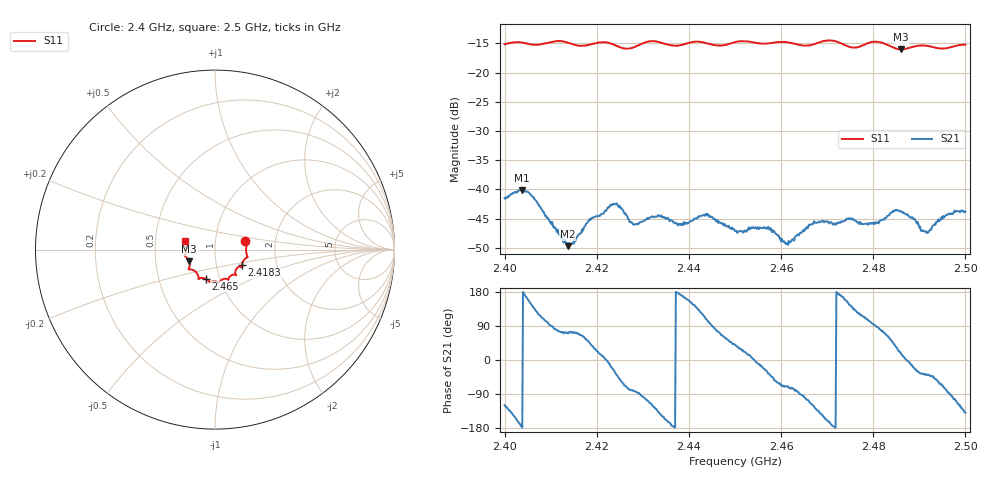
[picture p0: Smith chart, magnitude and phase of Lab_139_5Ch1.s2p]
# Hz S RI R 50
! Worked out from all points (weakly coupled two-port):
!   601 points, 2.4 GHz to 2.5 GHz, reference 50 ohm
!   highest |S21| = -40.09 dB at 2.4037 GHz (marker M1); lowest = -49.7 dB at 2.4137 GHz (marker M2)
!   lowest |S11| = -16.0 dB at 2.486 GHz (marker M3), VSWR 1.38, Z = 37.1 - j4.99 ohm
!   |S11| at or under -10 dB: start of sweep to end of sweep
!   S12 and S22 are empty: the file has one direction only
!   S11 on the Smith chart (normalised r, x): 2.4 GHz: 1.40, +0.13; 2.4183 GHz: 1.33, -0.24; 2.465 GHz: 0.86, -0.29; 2.5 GHz: 0.71, +0.07
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2.4e9  0.1689 0.0454  -0.00414 -0.00733  0 0  0 0
2.403667e9  0.1788 0.0291  -0.00986 -0.000836  0 0  0 0
2.406333e9  0.1731 0.00534  -0.00627 0.0058  0 0  0 0
2.413667e9  0.1749 -0.0461  0.001 0.0031  0 0  0 0
2.416667e9  0.1551 -0.0686  0.00177 0.00386  0 0  0 0
2.418333e9  0.1498 -0.087  0.00367 0.00395  0 0  0 0
2.423833e9  0.1436 -0.0964  0.00649 -0.00377  0 0  0 0
2.428167e9  0.1134 -0.1205  0.000697 -0.00492  0 0  0 0
2.433333e9  0.1165 -0.1415  -0.00439 -0.00412  0 0  0 0
2.438e9  0.0822 -0.1501  -0.00504 0.000564  0 0  0 0
2.443833e9  0.069 -0.1648  -0.00173 0.00577  0 0  0 0
2.45e9  0.0251 -0.1807  0.00337 0.00282  0 0  0 0
2.457333e9  -0.0126 -0.1775  0.00375 -0.00277  0 0  0 0
2.461333e9  -0.0312 -0.1792  0.00115 -0.00325  0 0  0 0
2.465e9  -0.0527 -0.1621  -0.000584 -0.00434  0 0  0 0
2.466667e9  -0.0713 -0.1576  -0.00227 -0.00446  0 0  0 0
2.479833e9  -0.1463 -0.1102  -0.000514 0.00513  0 0  0 0
2.483333e9  -0.1419 -0.0959  0.00303 0.00517  0 0  0 0
2.486e9  -0.1438 -0.0654  0.00624 0.00192  0 0  0 0
2.4915e9  -0.1673 -0.0306  0.00346 -0.00265  0 0  0 0
2.496e9  -0.1613 0.0165  0.000866 -0.00596  0 0  0 0
2.5e9  -0.1667 0.0472  -0.00488 -0.0042  0 0  0 0
